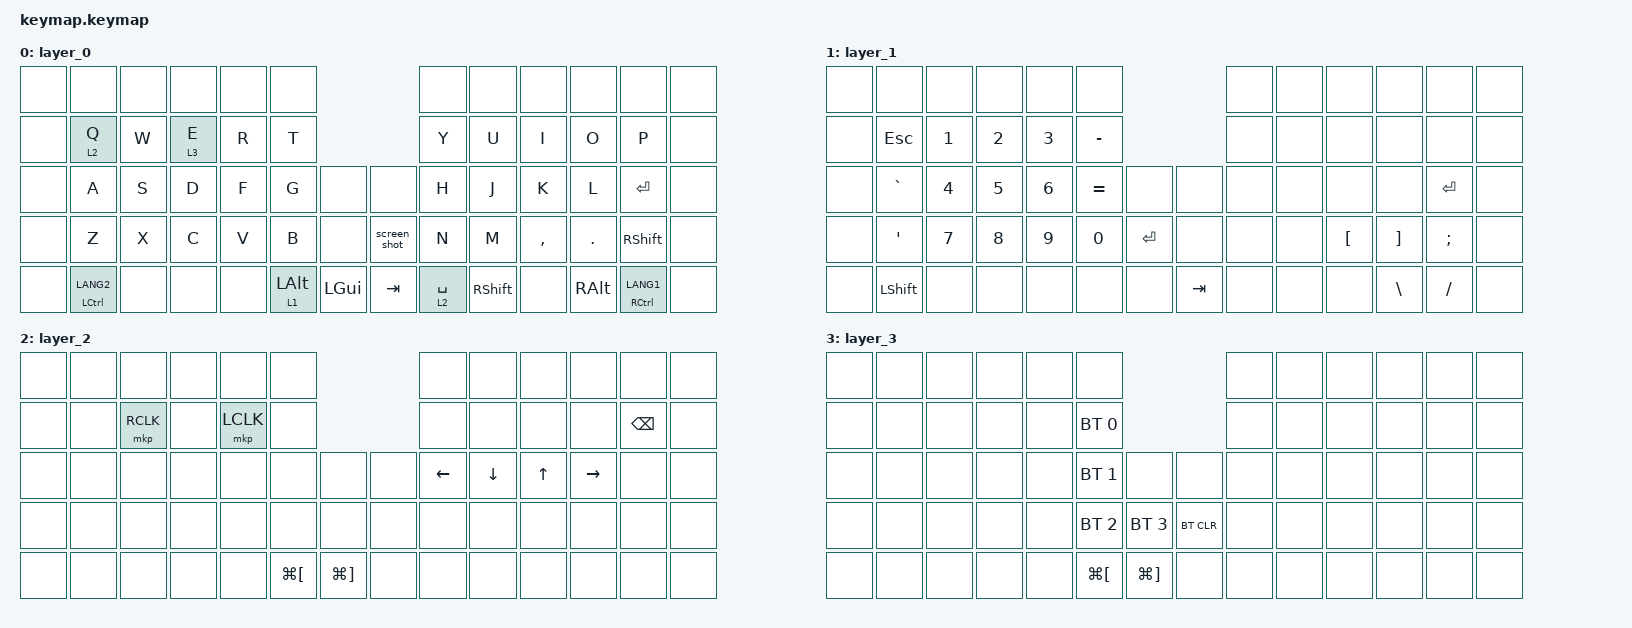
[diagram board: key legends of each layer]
#include <input/processors.dtsi>
#include <behaviors.dtsi>
#include <dt-bindings/zmk/bt.h>
#include <dt-bindings/zmk/keys.h>
#include <dt-bindings/zmk/pointing.h>

&pointing_listener {
    scroller {
        layers = <3>;
        input-processors =
            <&zip_xy_to_scroll_mapper>,
            <&zip_scroll_scaler 1 16>;
    };
};

/ {
    behaviors {
        // Q専用のレイヤータップ。Layer 2 のマウスキー(W/E/R/D位置)を押した
        // 瞬間だけホールド(Layer 2)を確定させ、通常入力ではタップ(Q)のまま。
        // グローバルな &lt には手を入れないので R などの挙動は変わらない。

        lt_mouse: layer_tap_mouse {
            compatible = "zmk,behavior-hold-tap";
            #binding-cells = <2>;
            flavor = "hold-preferred";
            tapping-term-ms = <200>;
            quick-tap-ms = <0>;
            hold-trigger-key-positions = <14 15 16 27>;
            bindings = <&mo>, <&kp>;
        };
    };

    combos {
        compatible = "zmk,combos";

        bt_clear {
            bindings = <&bt BT_CLR>;
            key-positions = <28 29>;
            layers = <2>;
        };
    };

    macros {
        screen_shot: screen_shot {
            compatible = "zmk,behavior-macro";
            #binding-cells = <0>;
            bindings =
                <&macro_press>,
                <&kp LEFT_GUI &kp LEFT_SHIFT>,
                <&macro_tap>,
                <&kp N4>,
                <&macro_release>,
                <&kp LEFT_SHIFT &kp LEFT_GUI>;

            label = "SCREEN_SHOT";
            wait-ms = <40>;
            tap-ms = <40>;
        };
    };

    keymap {
        compatible = "zmk,keymap";

        layer_0 {
            bindings = <
&none  &none                   &none  &none    &none  &none                                       &none        &none            &none      &none          &none            &none
&none  &lt_mouse 2 Q           &kp W  &lt 3 E  &kp R  &kp T                                       &kp Y        &kp U            &kp I      &kp O          &kp P            &none
&none  &kp A                   &kp S  &kp D    &kp F  &kp G           &none         &none         &kp H        &kp J            &kp K      &kp L          &kp RETURN       &none
&none  &kp Z                   &kp X  &kp C    &kp V  &kp B           &none         &screen_shot  &kp N        &kp M            &kp COMMA  &kp DOT        &kp RIGHT_SHIFT  &none
&none  &mt LEFT_CONTROL LANG2  &none  &none    &none  &lt 1 LEFT_ALT  &kp LEFT_GUI  &kp TAB       &lt 2 SPACE  &kp RIGHT_SHIFT  &none      &kp RIGHT_ALT  &mt RCTRL LANG1  &none
            >;
        };

        layer_1 {
            bindings = <
&none  &none           &none         &none         &none         &none                          &none  &none  &none             &none              &none          &none
&none  &kp ESCAPE      &kp NUMBER_1  &kp NUMBER_2  &kp NUMBER_3  &kp MINUS                      &none  &none  &none             &none              &none          &none
&none  &kp GRAVE       &kp NUMBER_4  &kp N5        &kp NUMBER_6  &kp EQUAL  &none      &none    &none  &none  &none             &none              &kp ENTER      &none
&none  &kp SQT         &kp N7        &kp N8        &kp N9        &kp N0     &kp ENTER  &none    &none  &none  &kp LEFT_BRACKET  &kp RIGHT_BRACKET  &kp SEMICOLON  &none
&none  &kp LEFT_SHIFT  &none         &none         &none         &none      &none      &kp TAB  &none  &none  &none             &kp BACKSLASH      &kp SLASH      &none
            >;
        };

        layer_2 {
            bindings = <
&none  &none  &none      &none  &none      &none                                               &none           &none           &none         &none            &none          &none
&none  &none  &mkp RCLK  &none  &mkp LCLK  &none                                               &none           &none           &none         &none            &kp BACKSPACE  &none
&none  &none  &none      &none  &none      &none                 &none                  &none  &kp LEFT_ARROW  &kp DOWN_ARROW  &kp UP_ARROW  &kp RIGHT_ARROW  &none          &none
&none  &none  &none      &none  &none      &none                 &none                  &none  &none           &none           &none         &none            &none          &none
&none  &none  &none      &none  &none      &kp LG(LEFT_BRACKET)  &kp LG(RIGHT_BRACKET)  &none  &none           &none           &none         &none            &none          &none
            >;
        };

        layer_3 {
            bindings = <
&none  &none  &none  &none  &none  &none                                                    &none  &none  &none  &none  &none  &none
&none  &none  &none  &none  &none  &bt BT_SEL 0                                             &none  &none  &none  &none  &none  &none
&none  &none  &none  &none  &none  &bt BT_SEL 1          &none                  &none       &none  &none  &none  &none  &none  &none
&none  &none  &none  &none  &none  &bt BT_SEL 2          &bt BT_SEL 3           &bt BT_CLR  &none  &none  &none  &none  &none  &none
&none  &none  &none  &none  &none  &kp LG(LEFT_BRACKET)  &kp LG(RIGHT_BRACKET)  &none       &none  &none  &none  &none  &none  &none
            >;
        };
    };
};
